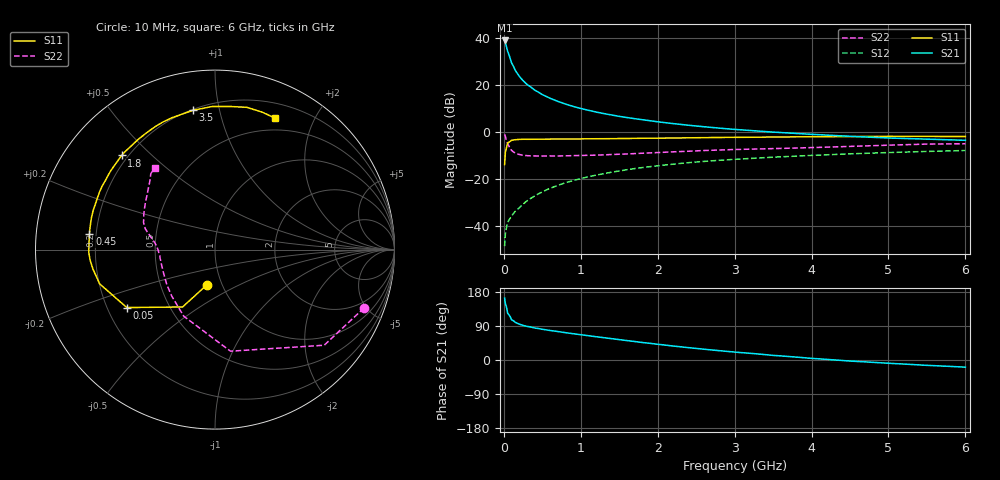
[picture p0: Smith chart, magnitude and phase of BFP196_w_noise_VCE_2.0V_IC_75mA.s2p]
! (c) 2017  Infineon Technologies AG, Munich
! Infineon Technologies  Discrete & RF Semiconductors
! BFP196
! VCE =  2.0 V,  IC =  75 mA
! Common Emitter S-Parameters:  Jan 2017
# GHz  S  MA  R  50
!  f  S11  S21  S12  S22
! GHz  MAG  ANG  MAG  ANG  MAG  ANG  MAG  ANG
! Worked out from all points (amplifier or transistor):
!   77 points, 10 MHz to 6 GHz, reference 50 ohm
!   highest |S21| = 39.1 dB at 10 MHz (marker M1)
!   |S21| within 3 dB of that: start of sweep to 36.62 MHz
!   unconditionally stable (mu >= 1): 378.6 MHz to 2.525 GHz
!   at 130 MHz: K = 0.76, MSG = 31.1 dB, |S12| = -34.5 dB
!   at 2.2 GHz: K = 1.01, MAG = 8.0 dB, |S12| = -13.7 dB
!   at 6 GHz: K = 0.97, MSG = 2.2 dB, |S12| = -7.9 dB
!   lowest NFmin = 1.73 dB at 450 MHz
!   S11 on the Smith chart (normalised r, x): 10 MHz: 0.84, -0.35; 50 MHz: 0.28, -0.28; 450 MHz: 0.17, +0.06; 1.8 GHz: 0.18, +0.41; 3.5 GHz: 0.21, +0.83; 6 GHz: 0.36, +1.50
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0.01  0.2036 -103.4  89.75 163.3  0.0037 79.2  0.8917 -21.4
0.02  0.3676 -119.5  81.21 149.0  0.0067 69.6  0.8087 -41.2
0.05  0.5879 -146.7  52.31 122.9  0.0119 57.6  0.5727 -81.3
0.1  0.6707 -163.5  29.89 106.2  0.0161 57.7  0.4101 -115.1
0.15  0.689 -171.1  20.49 99.2  0.0206 59.6  0.3544 -132.6
0.2  0.6984 -175.2  15.52 94.6  0.0242 64.2  0.333 -143.5
0.25  0.7034 -178.6  12.47 91.3  0.0292 65.5  0.3208 -150.5
0.3  0.7027 179.0  10.43 88.8  0.0341 67.2  0.3145 -155.9
0.4  0.7038 174.7  7.868 84.5  0.0434 69.4  0.3101 -162.8
0.45  0.7047 172.9  7.081 83.0  0.0483 69.6  0.3091 -165.1
0.5  0.7062 171.1  6.3 81.1  0.0532 69.8  0.3085 -167.4
0.6  0.7087 167.8  5.273 77.9  0.0633 69.2  0.3098 -171.1
0.7  0.7111 165.1  4.525 75.2  0.0727 68.9  0.3092 -173.9
0.9  0.7131 159.1  3.525 69.4  0.0925 67.3  0.3145 -177.8
1.1  0.7189 153.5  2.913 64.1  0.1118 64.9  0.3205 178.8
1.8  0.7392 134.8  1.837 46.2  0.1753 55.1  0.3542 170.6
2.1  0.7445 127.3  1.586 39.3  0.199 50.4  0.3725 167.7
3.1  0.7738 106.2  1.111 19.3  0.268 36.0  0.429 157.9
3.5  0.7855 99.0  1 12.2  0.2917 31.1  0.4444 153.1
4.1  0.7974 89.6  0.879 3.0  0.3231 23.4  0.4723 144.7
5.1  0.8109 76.1  0.739 -9.7  0.3702 11.6  0.5315 132.9
6  0.8052 65.3  0.668 -18.9  0.405 1.6  0.5645 126.6
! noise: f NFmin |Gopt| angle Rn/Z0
0.45  1.73  0.48  -171  0.06
0.9  1.89  0.51  -158  0.09
1.9  2.72  0.7  -130  0.38
2.4  3.12  0.7  -117  0.83
